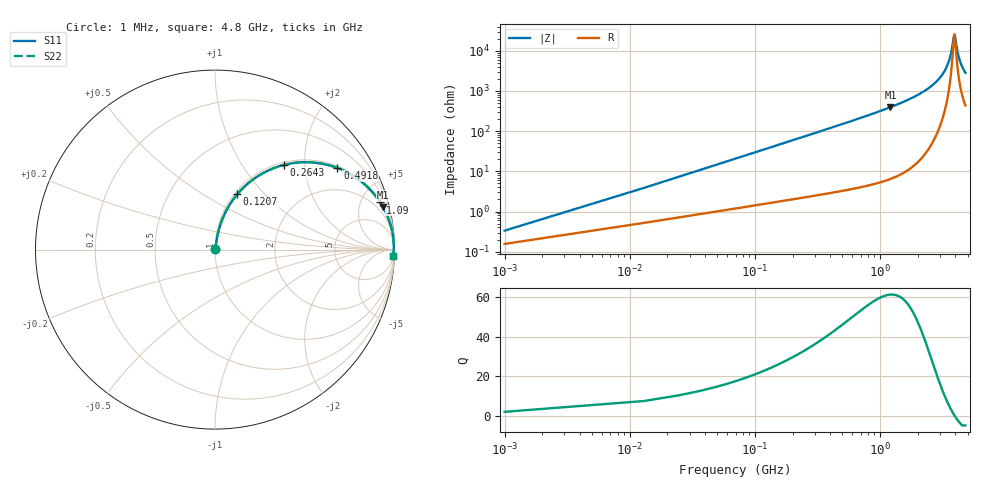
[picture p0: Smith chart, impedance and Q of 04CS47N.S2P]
! Coilcraft 0402CS-47N Chip Inductor
! 29 May 2002
# MHZ S MA R 50
!Freq  MagS11  AngS11  MagS21  AngS21  MagS12  AngS12  MagS22  AngS22
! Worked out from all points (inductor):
!   402 points, 1 MHz to 4.8 GHz, reference 50 ohm
!   read as one part in series: L = 47 nH near 24.94 MHz
!   highest Q = 61.2 at 1.21 GHz (marker M1), where L = 51.9 nH
!   self-resonance near 3.915 GHz
!   S11 on the Smith chart (normalised r, x): 1 MHz: 1.00, +0.01; 120.7 MHz: 1.03, +0.71; 264.3 MHz: 1.05, +1.57; 491.8 MHz: 1.06, +2.95; 1.09 GHz: 1.12, +6.98; 4.8 GHz: 10, -56
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1  0.003335 62.0  0.9984 -0.2  0.9984 -0.2  0.003335 62.0
36.91  0.1078 79.3  0.9857 -6.2  0.9857 -6.2  0.1078 79.3
48.88  0.1418 77.9  0.9802 -8.1  0.9802 -8.1  0.1418 77.9
72.82  0.2082 74.8  0.9664 -12.0  0.9664 -12.0  0.2082 74.8
120.7  0.3318 68.1  0.929 -19.4  0.929 -19.4  0.3318 68.1
180.55  0.4647 60.3  0.8691 -27.7  0.8691 -27.7  0.4647 60.3
264.34  0.6086 50.8  0.7757 -37.5  0.7757 -37.5  0.6086 50.8
491.77  0.8195 33.7  0.5553 -55.0  0.5553 -55.0  0.8195 33.7
802.99  0.9215 21.9  0.3723 -67.1  0.3723 -67.1  0.9215 21.9
1090.27  0.9571 15.9  0.2743 -73.1  0.2743 -73.1  0.9571 15.9
1209.97  0.9657 14.2  0.2445 -74.9  0.2445 -74.9  0.9657 14.2
1604.98  0.982 9.9  0.1725 -79.1  0.1725 -79.1  0.982 9.9
2406.97  0.9936 5.0  0.08725 -83.3  0.08725 -83.3  0.9936 5.0
3208.96  0.9963 2.0  0.03502 -83.0  0.03502 -83.0  0.9963 2.0
3603.97  0.9964 0.8  0.01515 -75.8  0.01515 -75.8  0.9964 0.8
3723.67  0.9963 0.5  0.009818 -67.7  0.009818 -67.7  0.9963 0.5
3903.22  0.9961 0.1  0.004016 -14.8  0.004016 -14.8  0.9961 0.1
3951.1  0.9961 -0.1  0.004087 14.9  0.004087 14.9  0.9961 -0.1
4010.95  0.996 -0.2  0.005431 41.8  0.005431 41.8  0.996 -0.2
4142.62  0.9957 -0.5  0.01011 64.7  0.01011 64.7  0.9957 -0.5
4310.2  0.9954 -0.9  0.01661 73.4  0.01661 73.4  0.9954 -0.9
4800  0.9941 -2.0  0.03499 79.2  0.03499 79.2  0.9941 -2.0
